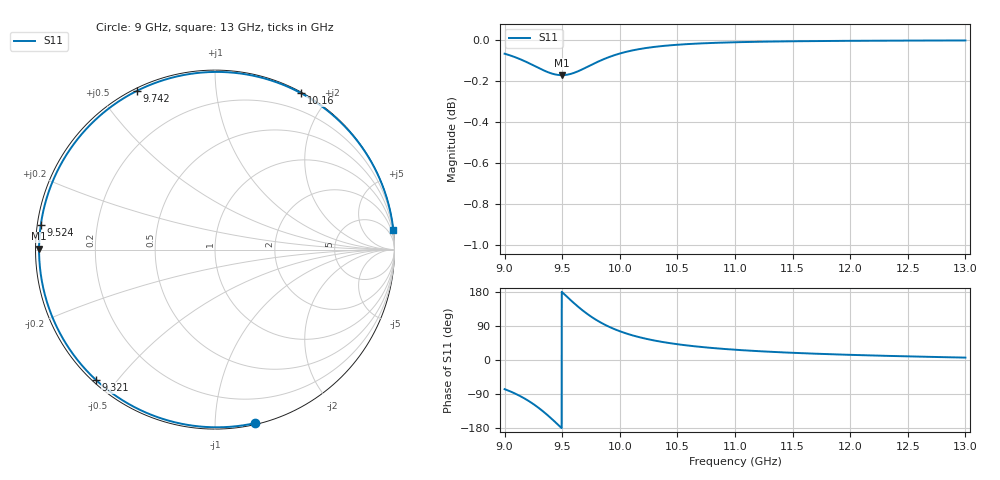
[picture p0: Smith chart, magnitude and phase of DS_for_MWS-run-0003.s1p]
! TOUCHSTONE file generated by CST DESIGN STUDIO
! Date and time: Tue Feb  4 15:55:07 2025
! Project name: C:\Work\MatlabApps\UnitCellOptimizationMatlab\CST\unitcell.cst
! Tree item: Tasks\Sweep1\SPara1\S-Parameters
! Header version: 2024
! Port assignment regex: !\s*Touchstone port\s*([0-9]+)\s*=\s*(CST MWS port|CST DES external port|CST DES block port)\s*(.+)\s* \(\"(.*)\"\)(\s*mode\s*([0-9]+))?.*
! Touchstone port assignment:
! Touchstone port 1 = CST DES external port 1 ("")
# GHz S MA R 50
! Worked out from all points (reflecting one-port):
!   4001 points, 9 GHz to 13 GHz, reference 50 ohm
!   lowest |S11| = -0.2 dB at 9.497 GHz (marker M1), VSWR 100.59, Z = 0.497 + j0.128 ohm
!   phase of S11 starts at -77 deg and turns -277 deg over the sweep
!   S11 on the Smith chart (normalised r, x): 9 GHz: 0.01, -1.26; 9.321 GHz: 0.01, -0.44; 9.524 GHz: 0.01, +0.07; 9.742 GHz: 0.01, +0.62; 10.16 GHz: 0.01, +1.70; 13 GHz: 0, +18
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9  0.9922 -76.9
9.083  0.9904 -87.4
9.184  0.9877 -103.5
9.255  0.9855 -117.4
9.321  0.9835 -132.4
9.368  0.9822 -144.3
9.417  0.9811 -157.5
9.458  0.9805 -169.1
9.497  0.9803 179.7
9.5  0.9803 178.8
9.524  0.9804 171.9
9.578  0.9811 156.7
9.638  0.9825 140.6
9.689  0.984 128.1
9.742  0.9856 116.3
9.795  0.9873 105.9
9.853  0.9889 95.8
9.926  0.9907 85.0
10  0.9923 75.9
10.158  0.9946 61.1
10.313  0.996 50.7
10.5  0.9971 41.6
10.722  0.9979 33.9
11  0.9985 27.1
11.5  0.9991 19.0
12  0.9993 13.6
12.5  0.9995 9.6
13  0.9995 6.3
